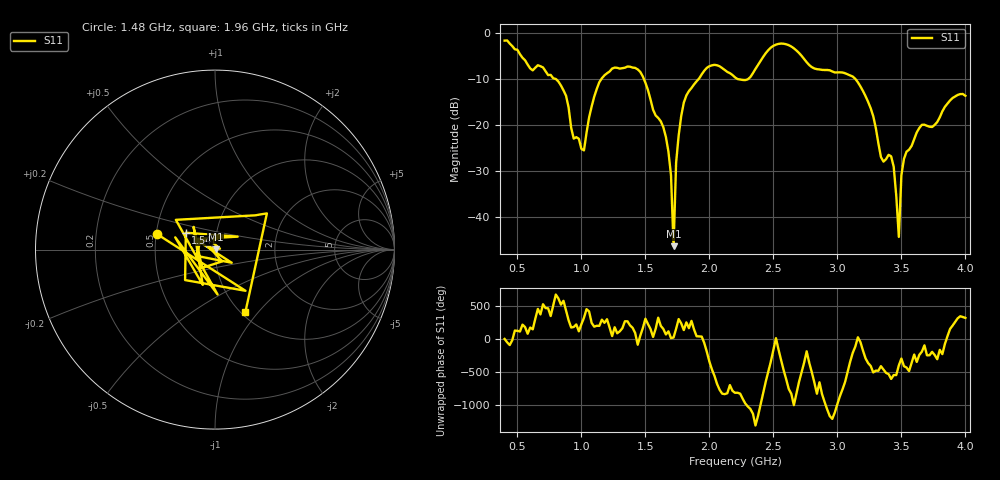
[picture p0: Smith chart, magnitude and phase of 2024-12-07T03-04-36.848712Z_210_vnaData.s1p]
!Created with skrf (http://scikit-rf.org).
# Hz S RI R 50.0
!freq ReS11 ImS11
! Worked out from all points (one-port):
!   181 points, 400 MHz to 4 GHz, reference 50 ohm
!   lowest |S11| = -46.3 dB at 1.72 GHz (marker M1), VSWR 1.01, Z = 50.5 + j0.173 ohm
!   |S11| at or under -10 dB: 791.3 MHz to 1.158 GHz (366.6 MHz wide, 37.6 % of centre); 1.487 GHz to 1.918 GHz (431.2 MHz wide, 25.3 % of centre); 3.138 GHz to end of sweep (the widest 3 of 4)
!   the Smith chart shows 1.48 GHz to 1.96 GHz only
!   S11 on the Smith chart (normalised r, x): 1.48 GHz: 0.51, +0.10; 1.54 GHz: 0.71, +0.14; 1.96 GHz: 1.05, -0.86
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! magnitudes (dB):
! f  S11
! 400 MHz  -1.7
! 860 MHz  -12.5
! 940 MHz  -23.0
! 1.02 GHz  -25.6
! 1.14 GHz  -10.8
! 1.3 GHz  -7.8
! 1.48 GHz  -9.5
! 1.54 GHz  -14.5
! 1.68 GHz  -25.9
! 1.7 GHz  -31.0
! 1.72 GHz  -46.3
! 1.74 GHz  -28.2
! 1.76 GHz  -22.3
! 1.82 GHz  -13.6
! 1.96 GHz  -8.3
! 2.2 GHz  -9.7
! 2.5 GHz  -2.9
! 2.66 GHz  -3.4
! 3.1 GHz  -9.3
! 3.26 GHz  -16.4
! 3.34 GHz  -27.0
! 3.42 GHz  -26.9
! 3.44 GHz  -29.1
! 3.48 GHz  -44.3
! 3.5 GHz  -31.0
! 3.56 GHz  -25.4
! 3.66 GHz  -20.0
! 4 GHz  -13.7
